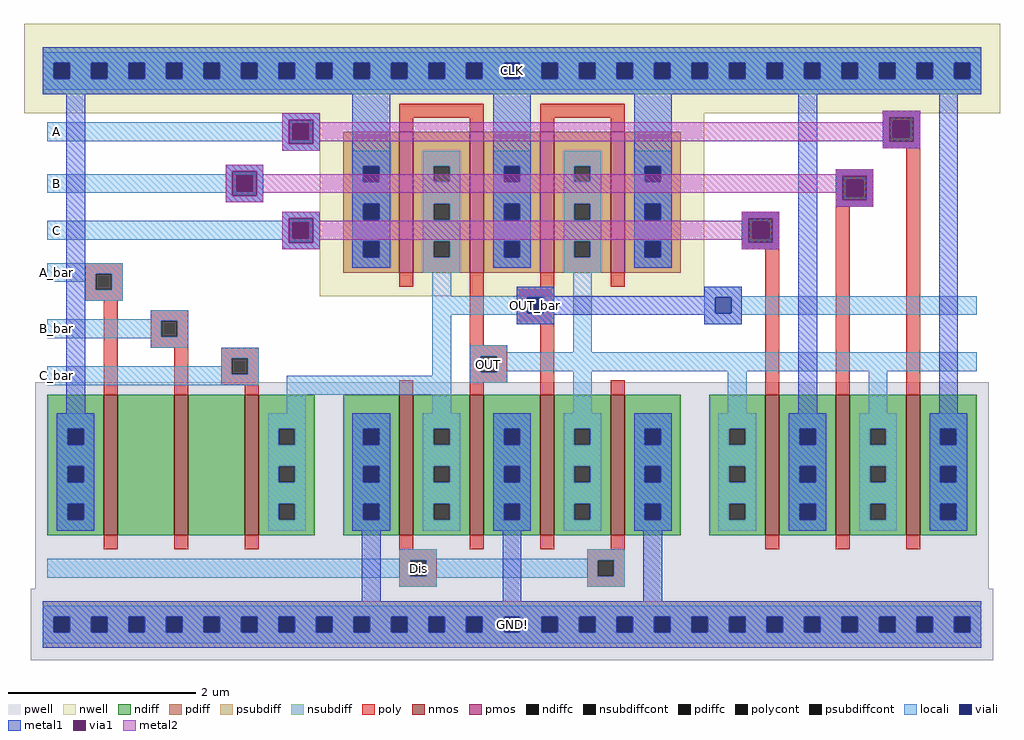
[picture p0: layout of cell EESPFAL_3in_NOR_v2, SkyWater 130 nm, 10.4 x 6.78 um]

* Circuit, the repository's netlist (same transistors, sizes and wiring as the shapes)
* NGSPICE file created from EESPFAL_3in_NOR_v2.ext - technology: sky130A

.subckt EESPFAL_3in_NOR_v2 A A_bar B B_bar C C_bar OUT OUT_bar Dis GND CLK
X0 CLK OUT_bar OUT CLK sky130_fd_pr__pfet_01v8 ad=2.7e+12p pd=1.26e+07u as=9e+11p ps=4.2e+06u w=1.5e+06u l=150000u M=2
X1 OUT B CLK GND sky130_fd_pr__nfet_01v8 ad=2.7e+12p pd=1.26e+07u as=7.7e+12p ps=3.36e+07u w=1.5e+06u l=150000u
X2 OUT_bar OUT CLK CLK sky130_fd_pr__pfet_01v8 ad=9e+11p pd=4.2e+06u as=0p ps=0u w=1.5e+06u l=150000u M=2
X3 a_n1990_570# B_bar a_n2140_570# GND sky130_fd_pr__nfet_01v8 ad=9e+11p pd=4.2e+06u as=9e+11p ps=4.2e+06u w=1.5e+06u l=150000u
X4 CLK A OUT GND sky130_fd_pr__nfet_01v8 ad=0p pd=0u as=0p ps=0u w=1.5e+06u l=150000u
X5 OUT OUT_bar GND GND sky130_fd_pr__nfet_01v8 ad=0p pd=0u as=2.7e+12p ps=1.26e+07u w=1.5e+06u l=150000u
X6 CLK C OUT GND sky130_fd_pr__nfet_01v8 ad=0p pd=0u as=0p ps=0u w=1.5e+06u l=150000u
X7 OUT_bar Dis GND GND sky130_fd_pr__nfet_01v8 ad=1.8e+12p pd=8.4e+06u as=0p ps=0u w=1.5e+06u l=150000u
X8 a_n2140_570# A_bar CLK GND sky130_fd_pr__nfet_01v8 ad=0p pd=0u as=0p ps=0u w=1.5e+06u l=150000u
X9 GND Dis OUT GND sky130_fd_pr__nfet_01v8 ad=0p pd=0u as=0p ps=0u w=1.5e+06u l=150000u
X10 OUT_bar C_bar a_n1990_570# GND sky130_fd_pr__nfet_01v8 ad=0p pd=0u as=0p ps=0u w=1.5e+06u l=150000u
X11 GND OUT OUT_bar GND sky130_fd_pr__nfet_01v8 ad=0p pd=0u as=0p ps=0u w=1.5e+06u l=150000u
.ends

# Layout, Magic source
magic
tech sky130A
magscale 1 2
<< nwell >>
rect -2340 1470 -260 1660
rect -1710 1080 -890 1470
<< pwell >>
rect -2316 456 -284 896
rect -2326 304 -274 456
<< nmos >>
rect -2170 570 -2140 870
rect -2020 570 -1990 870
rect -1870 570 -1840 870
rect -1540 570 -1510 870
rect -1390 570 -1360 870
rect -1240 570 -1210 870
rect -1090 570 -1060 870
rect -760 570 -730 870
rect -610 570 -580 870
rect -460 570 -430 870
<< pmos >>
rect -1540 1130 -1510 1430
rect -1390 1130 -1360 1430
rect -1240 1130 -1210 1430
rect -1090 1130 -1060 1430
<< ndiff >>
rect -2290 797 -2170 870
rect -2290 763 -2247 797
rect -2213 763 -2170 797
rect -2290 717 -2170 763
rect -2290 683 -2247 717
rect -2213 683 -2170 717
rect -2290 637 -2170 683
rect -2290 603 -2247 637
rect -2213 603 -2170 637
rect -2290 570 -2170 603
rect -2140 570 -2020 870
rect -1990 570 -1870 870
rect -1840 797 -1720 870
rect -1840 763 -1797 797
rect -1763 763 -1720 797
rect -1840 717 -1720 763
rect -1840 683 -1797 717
rect -1763 683 -1720 717
rect -1840 637 -1720 683
rect -1840 603 -1797 637
rect -1763 603 -1720 637
rect -1840 570 -1720 603
rect -1660 797 -1540 870
rect -1660 763 -1617 797
rect -1583 763 -1540 797
rect -1660 717 -1540 763
rect -1660 683 -1617 717
rect -1583 683 -1540 717
rect -1660 637 -1540 683
rect -1660 603 -1617 637
rect -1583 603 -1540 637
rect -1660 570 -1540 603
rect -1510 797 -1390 870
rect -1510 763 -1467 797
rect -1433 763 -1390 797
rect -1510 717 -1390 763
rect -1510 683 -1467 717
rect -1433 683 -1390 717
rect -1510 637 -1390 683
rect -1510 603 -1467 637
rect -1433 603 -1390 637
rect -1510 570 -1390 603
rect -1360 797 -1240 870
rect -1360 763 -1317 797
rect -1283 763 -1240 797
rect -1360 717 -1240 763
rect -1360 683 -1317 717
rect -1283 683 -1240 717
rect -1360 637 -1240 683
rect -1360 603 -1317 637
rect -1283 603 -1240 637
rect -1360 570 -1240 603
rect -1210 797 -1090 870
rect -1210 763 -1167 797
rect -1133 763 -1090 797
rect -1210 717 -1090 763
rect -1210 683 -1167 717
rect -1133 683 -1090 717
rect -1210 637 -1090 683
rect -1210 603 -1167 637
rect -1133 603 -1090 637
rect -1210 570 -1090 603
rect -1060 797 -940 870
rect -1060 763 -1017 797
rect -983 763 -940 797
rect -1060 717 -940 763
rect -1060 683 -1017 717
rect -983 683 -940 717
rect -1060 637 -940 683
rect -1060 603 -1017 637
rect -983 603 -940 637
rect -1060 570 -940 603
rect -880 797 -760 870
rect -880 763 -837 797
rect -803 763 -760 797
rect -880 717 -760 763
rect -880 683 -837 717
rect -803 683 -760 717
rect -880 637 -760 683
rect -880 603 -837 637
rect -803 603 -760 637
rect -880 570 -760 603
rect -730 797 -610 870
rect -730 763 -687 797
rect -653 763 -610 797
rect -730 717 -610 763
rect -730 683 -687 717
rect -653 683 -610 717
rect -730 637 -610 683
rect -730 603 -687 637
rect -653 603 -610 637
rect -730 570 -610 603
rect -580 797 -460 870
rect -580 763 -537 797
rect -503 763 -460 797
rect -580 717 -460 763
rect -580 683 -537 717
rect -503 683 -460 717
rect -580 637 -460 683
rect -580 603 -537 637
rect -503 603 -460 637
rect -580 570 -460 603
rect -430 797 -310 870
rect -430 763 -387 797
rect -353 763 -310 797
rect -430 717 -310 763
rect -430 683 -387 717
rect -353 683 -310 717
rect -430 637 -310 683
rect -430 603 -387 637
rect -353 603 -310 637
rect -430 570 -310 603
<< pdiff >>
rect -1660 1357 -1540 1430
rect -1660 1323 -1617 1357
rect -1583 1323 -1540 1357
rect -1660 1277 -1540 1323
rect -1660 1243 -1617 1277
rect -1583 1243 -1540 1277
rect -1660 1197 -1540 1243
rect -1660 1163 -1617 1197
rect -1583 1163 -1540 1197
rect -1660 1130 -1540 1163
rect -1510 1357 -1390 1430
rect -1510 1323 -1467 1357
rect -1433 1323 -1390 1357
rect -1510 1277 -1390 1323
rect -1510 1243 -1467 1277
rect -1433 1243 -1390 1277
rect -1510 1197 -1390 1243
rect -1510 1163 -1467 1197
rect -1433 1163 -1390 1197
rect -1510 1130 -1390 1163
rect -1360 1357 -1240 1430
rect -1360 1323 -1317 1357
rect -1283 1323 -1240 1357
rect -1360 1277 -1240 1323
rect -1360 1243 -1317 1277
rect -1283 1243 -1240 1277
rect -1360 1197 -1240 1243
rect -1360 1163 -1317 1197
rect -1283 1163 -1240 1197
rect -1360 1130 -1240 1163
rect -1210 1357 -1090 1430
rect -1210 1323 -1167 1357
rect -1133 1323 -1090 1357
rect -1210 1277 -1090 1323
rect -1210 1243 -1167 1277
rect -1133 1243 -1090 1277
rect -1210 1197 -1090 1243
rect -1210 1163 -1167 1197
rect -1133 1163 -1090 1197
rect -1210 1130 -1090 1163
rect -1060 1357 -940 1430
rect -1060 1323 -1017 1357
rect -983 1323 -940 1357
rect -1060 1277 -940 1323
rect -1060 1243 -1017 1277
rect -983 1243 -940 1277
rect -1060 1197 -940 1243
rect -1060 1163 -1017 1197
rect -983 1163 -940 1197
rect -1060 1130 -940 1163
<< ndiffc >>
rect -2247 763 -2213 797
rect -2247 683 -2213 717
rect -2247 603 -2213 637
rect -1797 763 -1763 797
rect -1797 683 -1763 717
rect -1797 603 -1763 637
rect -1617 763 -1583 797
rect -1617 683 -1583 717
rect -1617 603 -1583 637
rect -1467 763 -1433 797
rect -1467 683 -1433 717
rect -1467 603 -1433 637
rect -1317 763 -1283 797
rect -1317 683 -1283 717
rect -1317 603 -1283 637
rect -1167 763 -1133 797
rect -1167 683 -1133 717
rect -1167 603 -1133 637
rect -1017 763 -983 797
rect -1017 683 -983 717
rect -1017 603 -983 637
rect -837 763 -803 797
rect -837 683 -803 717
rect -837 603 -803 637
rect -687 763 -653 797
rect -687 683 -653 717
rect -687 603 -653 637
rect -537 763 -503 797
rect -537 683 -503 717
rect -537 603 -503 637
rect -387 763 -353 797
rect -387 683 -353 717
rect -387 603 -353 637
<< pdiffc >>
rect -1617 1323 -1583 1357
rect -1617 1243 -1583 1277
rect -1617 1163 -1583 1197
rect -1467 1323 -1433 1357
rect -1467 1243 -1433 1277
rect -1467 1163 -1433 1197
rect -1317 1323 -1283 1357
rect -1317 1243 -1283 1277
rect -1317 1163 -1283 1197
rect -1167 1323 -1133 1357
rect -1167 1243 -1133 1277
rect -1167 1163 -1133 1197
rect -1017 1323 -983 1357
rect -1017 1243 -983 1277
rect -1017 1163 -983 1197
<< psubdiff >>
rect -2300 397 -300 430
rect -2300 363 -2277 397
rect -2243 363 -2197 397
rect -2163 363 -2117 397
rect -2083 363 -2037 397
rect -2003 363 -1957 397
rect -1923 363 -1877 397
rect -1843 363 -1797 397
rect -1763 363 -1717 397
rect -1683 363 -1637 397
rect -1603 363 -1557 397
rect -1523 363 -1477 397
rect -1443 363 -1397 397
rect -1363 363 -1317 397
rect -1283 363 -1237 397
rect -1203 363 -1157 397
rect -1123 363 -1077 397
rect -1043 363 -997 397
rect -963 363 -917 397
rect -883 363 -837 397
rect -803 363 -757 397
rect -723 363 -677 397
rect -643 363 -597 397
rect -563 363 -517 397
rect -483 363 -437 397
rect -403 363 -357 397
rect -323 363 -300 397
rect -2300 330 -300 363
<< nsubdiff >>
rect -2300 1577 -300 1610
rect -2300 1543 -2277 1577
rect -2243 1543 -2197 1577
rect -2163 1543 -2117 1577
rect -2083 1543 -2037 1577
rect -2003 1543 -1957 1577
rect -1923 1543 -1877 1577
rect -1843 1543 -1797 1577
rect -1763 1543 -1717 1577
rect -1683 1543 -1637 1577
rect -1603 1543 -1557 1577
rect -1523 1543 -1477 1577
rect -1443 1543 -1397 1577
rect -1363 1543 -1317 1577
rect -1283 1543 -1237 1577
rect -1203 1543 -1157 1577
rect -1123 1543 -1077 1577
rect -1043 1543 -997 1577
rect -963 1543 -917 1577
rect -883 1543 -837 1577
rect -803 1543 -757 1577
rect -723 1543 -677 1577
rect -643 1543 -597 1577
rect -563 1543 -517 1577
rect -483 1543 -437 1577
rect -403 1543 -357 1577
rect -323 1543 -300 1577
rect -2300 1510 -300 1543
<< psubdiffcont >>
rect -2277 363 -2243 397
rect -2197 363 -2163 397
rect -2117 363 -2083 397
rect -2037 363 -2003 397
rect -1957 363 -1923 397
rect -1877 363 -1843 397
rect -1797 363 -1763 397
rect -1717 363 -1683 397
rect -1637 363 -1603 397
rect -1557 363 -1523 397
rect -1477 363 -1443 397
rect -1397 363 -1363 397
rect -1317 363 -1283 397
rect -1237 363 -1203 397
rect -1157 363 -1123 397
rect -1077 363 -1043 397
rect -997 363 -963 397
rect -917 363 -883 397
rect -837 363 -803 397
rect -757 363 -723 397
rect -677 363 -643 397
rect -597 363 -563 397
rect -517 363 -483 397
rect -437 363 -403 397
rect -357 363 -323 397
<< nsubdiffcont >>
rect -2277 1543 -2243 1577
rect -2197 1543 -2163 1577
rect -2117 1543 -2083 1577
rect -2037 1543 -2003 1577
rect -1957 1543 -1923 1577
rect -1877 1543 -1843 1577
rect -1797 1543 -1763 1577
rect -1717 1543 -1683 1577
rect -1637 1543 -1603 1577
rect -1557 1543 -1523 1577
rect -1477 1543 -1443 1577
rect -1397 1543 -1363 1577
rect -1317 1543 -1283 1577
rect -1237 1543 -1203 1577
rect -1157 1543 -1123 1577
rect -1077 1543 -1043 1577
rect -997 1543 -963 1577
rect -917 1543 -883 1577
rect -837 1543 -803 1577
rect -757 1543 -723 1577
rect -677 1543 -643 1577
rect -597 1543 -563 1577
rect -517 1543 -483 1577
rect -437 1543 -403 1577
rect -357 1543 -323 1577
<< poly >>
rect -1540 1460 -1360 1490
rect -1540 1430 -1510 1460
rect -1390 1430 -1360 1460
rect -1240 1460 -1060 1490
rect -1240 1430 -1210 1460
rect -1090 1430 -1060 1460
rect -510 1452 -430 1475
rect -2210 1127 -2130 1150
rect -510 1418 -487 1452
rect -453 1418 -430 1452
rect -510 1395 -430 1418
rect -610 1327 -530 1350
rect -610 1293 -587 1327
rect -553 1293 -530 1327
rect -610 1270 -530 1293
rect -810 1237 -730 1260
rect -810 1203 -787 1237
rect -753 1203 -730 1237
rect -810 1180 -730 1203
rect -2210 1093 -2187 1127
rect -2153 1093 -2130 1127
rect -1540 1100 -1510 1130
rect -2210 1070 -2130 1093
rect -2170 870 -2140 1070
rect -2070 1027 -1990 1050
rect -2070 993 -2047 1027
rect -2013 993 -1990 1027
rect -2070 970 -1990 993
rect -1390 975 -1360 1130
rect -1240 1100 -1210 1130
rect -1090 1100 -1060 1130
rect -1290 1077 -1210 1100
rect -1290 1043 -1267 1077
rect -1233 1043 -1210 1077
rect -1290 1020 -1210 1043
rect -2020 870 -1990 970
rect -1920 947 -1840 970
rect -1920 913 -1897 947
rect -1863 913 -1840 947
rect -1920 890 -1840 913
rect -1390 952 -1310 975
rect -1390 918 -1367 952
rect -1333 918 -1310 952
rect -1870 870 -1840 890
rect -1540 870 -1510 900
rect -1390 895 -1310 918
rect -1390 870 -1360 895
rect -1240 870 -1210 1020
rect -1090 870 -1060 900
rect -760 870 -730 1180
rect -610 870 -580 1270
rect -460 870 -430 1395
rect -2170 540 -2140 570
rect -2020 540 -1990 570
rect -1870 540 -1840 570
rect -1540 540 -1510 570
rect -1390 540 -1360 570
rect -1240 540 -1210 570
rect -1090 540 -1060 570
rect -760 540 -730 570
rect -610 540 -580 570
rect -460 540 -430 570
rect -1540 517 -1460 540
rect -1540 483 -1517 517
rect -1483 483 -1460 517
rect -1540 460 -1460 483
rect -1140 517 -1060 540
rect -1140 483 -1117 517
rect -1083 483 -1060 517
rect -1140 460 -1060 483
<< polycont >>
rect -487 1418 -453 1452
rect -587 1293 -553 1327
rect -787 1203 -753 1237
rect -2187 1093 -2153 1127
rect -2047 993 -2013 1027
rect -1267 1043 -1233 1077
rect -1897 913 -1863 947
rect -1367 918 -1333 952
rect -1517 483 -1483 517
rect -1117 483 -1083 517
<< locali >>
rect -2300 1577 -300 1600
rect -2300 1543 -2277 1577
rect -2243 1543 -2197 1577
rect -2163 1543 -2117 1577
rect -2083 1543 -2037 1577
rect -2003 1543 -1957 1577
rect -1923 1543 -1877 1577
rect -1843 1543 -1797 1577
rect -1763 1543 -1717 1577
rect -1683 1543 -1637 1577
rect -1603 1543 -1557 1577
rect -1523 1543 -1477 1577
rect -1443 1543 -1397 1577
rect -1363 1543 -1317 1577
rect -1283 1543 -1237 1577
rect -1203 1543 -1157 1577
rect -1123 1543 -1077 1577
rect -1043 1543 -997 1577
rect -963 1543 -917 1577
rect -883 1543 -837 1577
rect -803 1543 -757 1577
rect -723 1543 -677 1577
rect -643 1543 -597 1577
rect -563 1543 -517 1577
rect -483 1543 -437 1577
rect -403 1543 -357 1577
rect -323 1543 -300 1577
rect -2300 1520 -300 1543
rect -1790 1450 -1710 1470
rect -2290 1447 -1710 1450
rect -2290 1413 -1767 1447
rect -1733 1413 -1710 1447
rect -2290 1410 -1710 1413
rect -1790 1390 -1710 1410
rect -510 1452 -430 1475
rect -510 1418 -487 1452
rect -453 1418 -430 1452
rect -510 1395 -430 1418
rect -1910 1340 -1830 1360
rect -2290 1337 -1830 1340
rect -2290 1303 -1887 1337
rect -1853 1303 -1830 1337
rect -2290 1300 -1830 1303
rect -1910 1280 -1830 1300
rect -1640 1357 -1560 1390
rect -1640 1323 -1617 1357
rect -1583 1323 -1560 1357
rect -1640 1277 -1560 1323
rect -1790 1240 -1710 1260
rect -2290 1237 -1710 1240
rect -2290 1203 -1767 1237
rect -1733 1203 -1710 1237
rect -2290 1200 -1710 1203
rect -1790 1180 -1710 1200
rect -1640 1243 -1617 1277
rect -1583 1243 -1560 1277
rect -1640 1197 -1560 1243
rect -1640 1163 -1617 1197
rect -1583 1163 -1560 1197
rect -2290 1127 -2130 1150
rect -1640 1140 -1560 1163
rect -1490 1357 -1410 1390
rect -1490 1323 -1467 1357
rect -1433 1323 -1410 1357
rect -1490 1277 -1410 1323
rect -1490 1243 -1467 1277
rect -1433 1243 -1410 1277
rect -1490 1197 -1410 1243
rect -1490 1163 -1467 1197
rect -1433 1163 -1410 1197
rect -1490 1130 -1410 1163
rect -1340 1357 -1260 1390
rect -1340 1323 -1317 1357
rect -1283 1323 -1260 1357
rect -1340 1277 -1260 1323
rect -1340 1243 -1317 1277
rect -1283 1243 -1260 1277
rect -1340 1197 -1260 1243
rect -1340 1163 -1317 1197
rect -1283 1163 -1260 1197
rect -1340 1140 -1260 1163
rect -1190 1357 -1110 1390
rect -1190 1323 -1167 1357
rect -1133 1323 -1110 1357
rect -1190 1277 -1110 1323
rect -1190 1243 -1167 1277
rect -1133 1243 -1110 1277
rect -1190 1197 -1110 1243
rect -1190 1163 -1167 1197
rect -1133 1163 -1110 1197
rect -1190 1130 -1110 1163
rect -1040 1357 -960 1390
rect -1040 1323 -1017 1357
rect -983 1323 -960 1357
rect -1040 1277 -960 1323
rect -1040 1243 -1017 1277
rect -983 1243 -960 1277
rect -610 1327 -530 1350
rect -610 1293 -587 1327
rect -553 1293 -530 1327
rect -610 1270 -530 1293
rect -1040 1197 -960 1243
rect -1040 1163 -1017 1197
rect -983 1163 -960 1197
rect -810 1237 -730 1260
rect -810 1203 -787 1237
rect -753 1203 -730 1237
rect -810 1180 -730 1203
rect -1040 1140 -960 1163
rect -2290 1110 -2187 1127
rect -2210 1093 -2187 1110
rect -2153 1093 -2130 1127
rect -2210 1070 -2130 1093
rect -1470 1080 -1430 1130
rect -1290 1080 -1210 1100
rect -1470 1077 -1210 1080
rect -2070 1030 -1990 1050
rect -2290 1027 -1990 1030
rect -2290 993 -2047 1027
rect -2013 993 -1990 1027
rect -2290 990 -1990 993
rect -2070 970 -1990 990
rect -1470 1043 -1267 1077
rect -1233 1043 -1210 1077
rect -1470 1040 -1210 1043
rect -1920 947 -1840 970
rect -1920 930 -1897 947
rect -2290 913 -1897 930
rect -1863 913 -1840 947
rect -2290 890 -1840 913
rect -1470 910 -1430 1040
rect -1290 1020 -1210 1040
rect -1780 870 -1430 910
rect -1390 960 -1310 975
rect -1170 960 -1130 1130
rect -890 1080 -810 1100
rect -890 1077 -310 1080
rect -890 1043 -867 1077
rect -833 1043 -310 1077
rect -890 1040 -310 1043
rect -890 1020 -810 1040
rect -1390 952 -310 960
rect -1390 918 -1367 952
rect -1333 920 -310 952
rect -1333 918 -1310 920
rect -1390 895 -1310 918
rect -1780 830 -1740 870
rect -1470 830 -1430 870
rect -1170 830 -1130 920
rect -840 830 -800 920
rect -540 830 -500 920
rect -2270 797 -2190 830
rect -2270 763 -2247 797
rect -2213 763 -2190 797
rect -2270 717 -2190 763
rect -2270 683 -2247 717
rect -2213 683 -2190 717
rect -2270 637 -2190 683
rect -2270 603 -2247 637
rect -2213 603 -2190 637
rect -2270 580 -2190 603
rect -1820 797 -1740 830
rect -1820 763 -1797 797
rect -1763 763 -1740 797
rect -1820 717 -1740 763
rect -1820 683 -1797 717
rect -1763 683 -1740 717
rect -1820 637 -1740 683
rect -1820 603 -1797 637
rect -1763 603 -1740 637
rect -1820 580 -1740 603
rect -1640 797 -1560 830
rect -1640 763 -1617 797
rect -1583 763 -1560 797
rect -1640 717 -1560 763
rect -1640 683 -1617 717
rect -1583 683 -1560 717
rect -1640 637 -1560 683
rect -1640 603 -1617 637
rect -1583 603 -1560 637
rect -1640 580 -1560 603
rect -1490 797 -1410 830
rect -1490 763 -1467 797
rect -1433 763 -1410 797
rect -1490 717 -1410 763
rect -1490 683 -1467 717
rect -1433 683 -1410 717
rect -1490 637 -1410 683
rect -1490 603 -1467 637
rect -1433 603 -1410 637
rect -1490 580 -1410 603
rect -1340 797 -1260 830
rect -1340 763 -1317 797
rect -1283 763 -1260 797
rect -1340 717 -1260 763
rect -1340 683 -1317 717
rect -1283 683 -1260 717
rect -1340 637 -1260 683
rect -1340 603 -1317 637
rect -1283 603 -1260 637
rect -1340 580 -1260 603
rect -1190 797 -1110 830
rect -1190 763 -1167 797
rect -1133 763 -1110 797
rect -1190 717 -1110 763
rect -1190 683 -1167 717
rect -1133 683 -1110 717
rect -1190 637 -1110 683
rect -1190 603 -1167 637
rect -1133 603 -1110 637
rect -1190 580 -1110 603
rect -1040 797 -960 830
rect -1040 763 -1017 797
rect -983 763 -960 797
rect -1040 717 -960 763
rect -1040 683 -1017 717
rect -983 683 -960 717
rect -1040 637 -960 683
rect -1040 603 -1017 637
rect -983 603 -960 637
rect -1040 580 -960 603
rect -860 797 -780 830
rect -860 763 -837 797
rect -803 763 -780 797
rect -860 717 -780 763
rect -860 683 -837 717
rect -803 683 -780 717
rect -860 637 -780 683
rect -860 603 -837 637
rect -803 603 -780 637
rect -860 580 -780 603
rect -710 797 -630 830
rect -710 763 -687 797
rect -653 763 -630 797
rect -710 717 -630 763
rect -710 683 -687 717
rect -653 683 -630 717
rect -710 637 -630 683
rect -710 603 -687 637
rect -653 603 -630 637
rect -710 580 -630 603
rect -560 797 -480 830
rect -560 763 -537 797
rect -503 763 -480 797
rect -560 717 -480 763
rect -560 683 -537 717
rect -503 683 -480 717
rect -560 637 -480 683
rect -560 603 -537 637
rect -503 603 -480 637
rect -560 580 -480 603
rect -410 797 -330 830
rect -410 763 -387 797
rect -353 763 -330 797
rect -410 717 -330 763
rect -410 683 -387 717
rect -353 683 -330 717
rect -410 637 -330 683
rect -410 603 -387 637
rect -353 603 -330 637
rect -410 580 -330 603
rect -1540 520 -1460 540
rect -1140 520 -1060 540
rect -2290 517 -1060 520
rect -2290 483 -1517 517
rect -1483 483 -1117 517
rect -1083 483 -1060 517
rect -2290 480 -1060 483
rect -1540 460 -1460 480
rect -1140 460 -1060 480
rect -2300 397 -300 420
rect -2300 363 -2277 397
rect -2243 363 -2197 397
rect -2163 363 -2117 397
rect -2083 363 -2037 397
rect -2003 363 -1957 397
rect -1923 363 -1877 397
rect -1843 363 -1797 397
rect -1763 363 -1717 397
rect -1683 363 -1637 397
rect -1603 363 -1557 397
rect -1523 363 -1477 397
rect -1443 363 -1397 397
rect -1363 363 -1317 397
rect -1283 363 -1237 397
rect -1203 363 -1157 397
rect -1123 363 -1077 397
rect -1043 363 -997 397
rect -963 363 -917 397
rect -883 363 -837 397
rect -803 363 -757 397
rect -723 363 -677 397
rect -643 363 -597 397
rect -563 363 -517 397
rect -483 363 -437 397
rect -403 363 -357 397
rect -323 363 -300 397
rect -2300 340 -300 363
<< viali >>
rect -2277 1543 -2243 1577
rect -2197 1543 -2163 1577
rect -2117 1543 -2083 1577
rect -2037 1543 -2003 1577
rect -1957 1543 -1923 1577
rect -1877 1543 -1843 1577
rect -1797 1543 -1763 1577
rect -1717 1543 -1683 1577
rect -1637 1543 -1603 1577
rect -1557 1543 -1523 1577
rect -1477 1543 -1443 1577
rect -1397 1543 -1363 1577
rect -1317 1543 -1283 1577
rect -1237 1543 -1203 1577
rect -1157 1543 -1123 1577
rect -1077 1543 -1043 1577
rect -997 1543 -963 1577
rect -917 1543 -883 1577
rect -837 1543 -803 1577
rect -757 1543 -723 1577
rect -677 1543 -643 1577
rect -597 1543 -563 1577
rect -517 1543 -483 1577
rect -437 1543 -403 1577
rect -357 1543 -323 1577
rect -1767 1413 -1733 1447
rect -487 1418 -453 1452
rect -1887 1303 -1853 1337
rect -1617 1323 -1583 1357
rect -1767 1203 -1733 1237
rect -1617 1243 -1583 1277
rect -1617 1163 -1583 1197
rect -1317 1323 -1283 1357
rect -1317 1243 -1283 1277
rect -1317 1163 -1283 1197
rect -1017 1323 -983 1357
rect -1017 1243 -983 1277
rect -587 1293 -553 1327
rect -1017 1163 -983 1197
rect -787 1203 -753 1237
rect -1267 1043 -1233 1077
rect -867 1043 -833 1077
rect -2247 763 -2213 797
rect -2247 683 -2213 717
rect -2247 603 -2213 637
rect -1617 763 -1583 797
rect -1617 683 -1583 717
rect -1617 603 -1583 637
rect -1317 763 -1283 797
rect -1317 683 -1283 717
rect -1317 603 -1283 637
rect -1017 763 -983 797
rect -1017 683 -983 717
rect -1017 603 -983 637
rect -687 763 -653 797
rect -687 683 -653 717
rect -687 603 -653 637
rect -387 763 -353 797
rect -387 683 -353 717
rect -387 603 -353 637
rect -2277 363 -2243 397
rect -2197 363 -2163 397
rect -2117 363 -2083 397
rect -2037 363 -2003 397
rect -1957 363 -1923 397
rect -1877 363 -1843 397
rect -1797 363 -1763 397
rect -1717 363 -1683 397
rect -1637 363 -1603 397
rect -1557 363 -1523 397
rect -1477 363 -1443 397
rect -1397 363 -1363 397
rect -1317 363 -1283 397
rect -1237 363 -1203 397
rect -1157 363 -1123 397
rect -1077 363 -1043 397
rect -997 363 -963 397
rect -917 363 -883 397
rect -837 363 -803 397
rect -757 363 -723 397
rect -677 363 -643 397
rect -597 363 -563 397
rect -517 363 -483 397
rect -437 363 -403 397
rect -357 363 -323 397
<< metal1 >>
rect -2300 1577 -300 1610
rect -2300 1543 -2277 1577
rect -2243 1543 -2197 1577
rect -2163 1543 -2117 1577
rect -2083 1543 -2037 1577
rect -2003 1543 -1957 1577
rect -1923 1543 -1877 1577
rect -1843 1543 -1797 1577
rect -1763 1543 -1717 1577
rect -1683 1543 -1637 1577
rect -1603 1543 -1557 1577
rect -1523 1543 -1477 1577
rect -1443 1543 -1397 1577
rect -1363 1543 -1317 1577
rect -1283 1543 -1237 1577
rect -1203 1543 -1157 1577
rect -1123 1543 -1077 1577
rect -1043 1543 -997 1577
rect -963 1543 -917 1577
rect -883 1543 -837 1577
rect -803 1543 -757 1577
rect -723 1543 -677 1577
rect -643 1543 -597 1577
rect -563 1543 -517 1577
rect -483 1543 -437 1577
rect -403 1543 -357 1577
rect -323 1543 -300 1577
rect -2300 1510 -300 1543
rect -2250 830 -2210 1510
rect -1790 1456 -1710 1470
rect -1790 1404 -1776 1456
rect -1724 1404 -1710 1456
rect -1790 1390 -1710 1404
rect -1910 1346 -1830 1360
rect -1910 1294 -1896 1346
rect -1844 1294 -1830 1346
rect -1910 1280 -1830 1294
rect -1640 1357 -1560 1510
rect -1640 1323 -1617 1357
rect -1583 1323 -1560 1357
rect -1640 1277 -1560 1323
rect -1790 1246 -1710 1260
rect -1790 1194 -1776 1246
rect -1724 1194 -1710 1246
rect -1790 1180 -1710 1194
rect -1640 1243 -1617 1277
rect -1583 1243 -1560 1277
rect -1640 1197 -1560 1243
rect -1640 1163 -1617 1197
rect -1583 1163 -1560 1197
rect -1640 1140 -1560 1163
rect -1340 1357 -1260 1510
rect -1340 1323 -1317 1357
rect -1283 1323 -1260 1357
rect -1340 1277 -1260 1323
rect -1340 1243 -1317 1277
rect -1283 1243 -1260 1277
rect -1340 1197 -1260 1243
rect -1340 1163 -1317 1197
rect -1283 1163 -1260 1197
rect -1340 1140 -1260 1163
rect -1040 1357 -960 1510
rect -1040 1323 -1017 1357
rect -983 1323 -960 1357
rect -1040 1277 -960 1323
rect -1040 1243 -1017 1277
rect -983 1243 -960 1277
rect -1040 1197 -960 1243
rect -1040 1163 -1017 1197
rect -983 1163 -960 1197
rect -810 1246 -730 1260
rect -810 1194 -796 1246
rect -744 1194 -730 1246
rect -810 1180 -730 1194
rect -1040 1140 -960 1163
rect -1290 1080 -1210 1100
rect -890 1080 -810 1100
rect -1290 1077 -810 1080
rect -1290 1043 -1267 1077
rect -1233 1043 -867 1077
rect -833 1043 -810 1077
rect -1290 1040 -810 1043
rect -1290 1020 -1210 1040
rect -890 1020 -810 1040
rect -690 830 -650 1510
rect -510 1461 -430 1475
rect -510 1409 -496 1461
rect -444 1409 -430 1461
rect -510 1395 -430 1409
rect -610 1336 -530 1350
rect -610 1284 -596 1336
rect -544 1284 -530 1336
rect -610 1270 -530 1284
rect -390 830 -350 1510
rect -2270 797 -2190 830
rect -2270 763 -2247 797
rect -2213 763 -2190 797
rect -2270 717 -2190 763
rect -2270 683 -2247 717
rect -2213 683 -2190 717
rect -2270 637 -2190 683
rect -2270 603 -2247 637
rect -2213 603 -2190 637
rect -2270 580 -2190 603
rect -1640 797 -1560 830
rect -1640 763 -1617 797
rect -1583 763 -1560 797
rect -1640 717 -1560 763
rect -1640 683 -1617 717
rect -1583 683 -1560 717
rect -1640 637 -1560 683
rect -1640 603 -1617 637
rect -1583 603 -1560 637
rect -1640 580 -1560 603
rect -1340 797 -1260 830
rect -1340 763 -1317 797
rect -1283 763 -1260 797
rect -1340 717 -1260 763
rect -1340 683 -1317 717
rect -1283 683 -1260 717
rect -1340 637 -1260 683
rect -1340 603 -1317 637
rect -1283 603 -1260 637
rect -1340 580 -1260 603
rect -1040 797 -960 830
rect -1040 763 -1017 797
rect -983 763 -960 797
rect -1040 717 -960 763
rect -1040 683 -1017 717
rect -983 683 -960 717
rect -1040 637 -960 683
rect -1040 603 -1017 637
rect -983 603 -960 637
rect -1040 580 -960 603
rect -710 797 -630 830
rect -710 763 -687 797
rect -653 763 -630 797
rect -710 717 -630 763
rect -710 683 -687 717
rect -653 683 -630 717
rect -710 637 -630 683
rect -710 603 -687 637
rect -653 603 -630 637
rect -710 580 -630 603
rect -410 797 -330 830
rect -410 763 -387 797
rect -353 763 -330 797
rect -410 717 -330 763
rect -410 683 -387 717
rect -353 683 -330 717
rect -410 637 -330 683
rect -410 603 -387 637
rect -353 603 -330 637
rect -410 580 -330 603
rect -1620 430 -1580 580
rect -1320 430 -1280 580
rect -1020 430 -980 580
rect -2300 397 -300 430
rect -2300 363 -2277 397
rect -2243 363 -2197 397
rect -2163 363 -2117 397
rect -2083 363 -2037 397
rect -2003 363 -1957 397
rect -1923 363 -1877 397
rect -1843 363 -1797 397
rect -1763 363 -1717 397
rect -1683 363 -1637 397
rect -1603 363 -1557 397
rect -1523 363 -1477 397
rect -1443 363 -1397 397
rect -1363 363 -1317 397
rect -1283 363 -1237 397
rect -1203 363 -1157 397
rect -1123 363 -1077 397
rect -1043 363 -997 397
rect -963 363 -917 397
rect -883 363 -837 397
rect -803 363 -757 397
rect -723 363 -677 397
rect -643 363 -597 397
rect -563 363 -517 397
rect -483 363 -437 397
rect -403 363 -357 397
rect -323 363 -300 397
rect -2300 330 -300 363
<< via1 >>
rect -1776 1447 -1724 1456
rect -1776 1413 -1767 1447
rect -1767 1413 -1733 1447
rect -1733 1413 -1724 1447
rect -1776 1404 -1724 1413
rect -1896 1337 -1844 1346
rect -1896 1303 -1887 1337
rect -1887 1303 -1853 1337
rect -1853 1303 -1844 1337
rect -1896 1294 -1844 1303
rect -1776 1237 -1724 1246
rect -1776 1203 -1767 1237
rect -1767 1203 -1733 1237
rect -1733 1203 -1724 1237
rect -1776 1194 -1724 1203
rect -796 1237 -744 1246
rect -796 1203 -787 1237
rect -787 1203 -753 1237
rect -753 1203 -744 1237
rect -796 1194 -744 1203
rect -496 1452 -444 1461
rect -496 1418 -487 1452
rect -487 1418 -453 1452
rect -453 1418 -444 1452
rect -496 1409 -444 1418
rect -596 1327 -544 1336
rect -596 1293 -587 1327
rect -587 1293 -553 1327
rect -553 1293 -544 1327
rect -596 1284 -544 1293
<< metal2 >>
rect -1790 1456 -1710 1470
rect -1790 1404 -1776 1456
rect -1724 1450 -1710 1456
rect -510 1461 -430 1475
rect -510 1450 -496 1461
rect -1724 1410 -496 1450
rect -1724 1404 -1710 1410
rect -1790 1390 -1710 1404
rect -510 1409 -496 1410
rect -444 1409 -430 1461
rect -510 1395 -430 1409
rect -1910 1346 -1830 1360
rect -1910 1294 -1896 1346
rect -1844 1340 -1830 1346
rect -610 1340 -530 1350
rect -1844 1336 -530 1340
rect -1844 1300 -596 1336
rect -1844 1294 -1830 1300
rect -1910 1280 -1830 1294
rect -610 1284 -596 1300
rect -544 1284 -530 1336
rect -610 1270 -530 1284
rect -1790 1246 -1710 1260
rect -1790 1194 -1776 1246
rect -1724 1240 -1710 1246
rect -810 1246 -730 1260
rect -810 1240 -796 1246
rect -1724 1200 -796 1240
rect -1724 1194 -1710 1200
rect -1790 1180 -1710 1194
rect -810 1194 -796 1200
rect -744 1194 -730 1246
rect -810 1180 -730 1194
<< labels >>
rlabel metal1 s -1270 1040 -1230 1080 4 OUT_bar
port 1 nsew
rlabel metal1 s -1320 360 -1280 400 4 GND!
port 2 nsew
rlabel metal1 s -1320 1540 -1280 1580 4 CLK
port 3 nsew
rlabel locali s -1370 915 -1330 955 4 OUT
port 4 nsew
rlabel locali s -2280 1420 -2260 1440 4 A
port 5 nsew
rlabel locali s -2280 1120 -2260 1140 4 A_bar
port 6 nsew
rlabel locali s -2280 1310 -2260 1330 4 B
port 7 nsew
rlabel locali s -2280 1000 -2260 1020 4 B_bar
port 8 nsew
rlabel locali s -2280 1210 -2260 1230 4 C
port 9 nsew
rlabel locali s -2280 900 -2260 920 4 C_bar
port 10 nsew
rlabel locali s -1520 480 -1480 520 4 Dis
port 11 nsew
<< end >>
